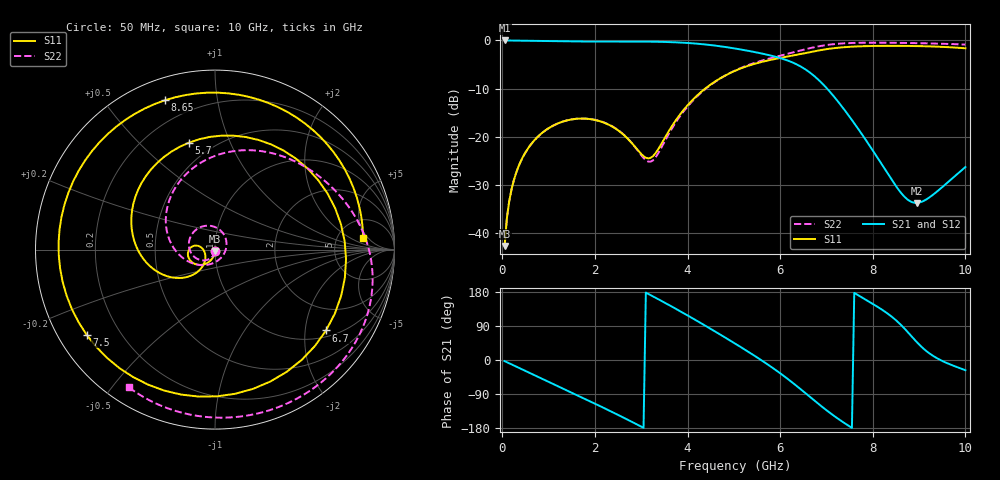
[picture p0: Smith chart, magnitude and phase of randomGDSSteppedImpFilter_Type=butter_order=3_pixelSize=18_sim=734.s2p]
! freq	dB(S11)	phase(S11)	dB(S12)	phase(S12)
!  dB(S21)	phase(S21)	dB(S22)	phase(S22)
!S-par simulation data
#  GHz  S  DB  R 50
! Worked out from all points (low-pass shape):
!   200 points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, 50 MHz to 10 GHz, reference 50 ohm
!   highest |S21| = -0.01 dB at 50 MHz (marker M1); lowest = -33.8 dB at 8.95 GHz (marker M2)
!   |S21| within 3 dB of the highest: start of sweep to 5.738 GHz
!   lowest |S11| = -42.7 dB at 50 MHz (marker M3), VSWR 1.01, Z = 50 - j0.729 ohm
!   |S11| at or under -10 dB: start of sweep to 4.383 GHz
!   |S22| runs from -42.8 to -0.5 dB; largest |S21 - S12| = 0
!   S11 on the Smith chart (normalised r, x): 50 MHz: 1.00, -0.01; 5.7 GHz: 0.37, +0.72; 6.7 GHz: 1.19, -2.59; 7.5 GHz: 0.08, -0.30; 8.65 GHz: 0.10, +0.71; 10 GHz: 9.08, +3.73
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0.05  -42.75 -90.0  -0.01 -2.9  -0.01 -2.9  -42.76 -91.4
0.2  -30.93 -98.8  -0.02 -11.6  -0.02 -11.6  -30.95 -103.6
0.5  -23.28 -113.2  -0.06 -28.9  -0.06 -28.9  -23.30 -125.3
1.15  -17.46 -142.3  -0.16 -66.1  -0.16 -66.1  -17.47 -171.4
1.75  -16.24 -167.1  -0.22 -100.6  -0.22 -100.6  -16.22 144.3
2.65  -19.88 167.6  -0.23 -154.0  -0.23 -154.0  -19.83 64.6
3.15  -24.52 -163.2  -0.25 174.6  -0.25 174.6  -25.17 -25.3
3.4  -22.09 -134.1  -0.29 158.4  -0.29 158.4  -22.90 -91.2
4.25  -11.07 -146.0  -0.72 100.1  -0.72 100.1  -11.24 163.2
5.05  -6.21 162.5  -1.72 41.6  -1.72 41.6  -6.15 98.6
5.7  -4.24 103.6  -2.92 -9.2  -2.92 -9.2  -3.94 56.0
6.15  -3.37 48.3  -4.14 -48.7  -4.14 -48.7  -2.81 31.5
6.45  -2.81 3.7  -5.46 -77.8  -5.46 -77.8  -2.07 16.4
6.7  -2.32 -36.0  -7.11 -103.1  -7.11 -103.1  -1.49 3.8
7.05  -1.75 -89.3  -10.40 -137.2  -10.40 -137.2  -0.89 -13.8
7.5  -1.33 -146.5  -15.88 -175.3  -15.88 -175.3  -0.55 -34.9
7.9  -1.17 172.5  -21.41 155.2  -21.41 155.2  -0.47 -51.4
8.35  -1.13 132.9  -28.09 119.9  -28.09 119.9  -0.48 -68.0
8.65  -1.13 108.6  -32.14 87.5  -32.14 87.5  -0.52 -78.2
8.95  -1.17 85.2  -33.77 47.3  -33.77 47.3  -0.57 -88.1
9.55  -1.36 39.3  -30.08 -5.3  -30.08 -5.3  -0.71 -107.2
10  -1.64 4.5  -26.31 -26.9  -26.31 -26.9  -0.87 -121.9
